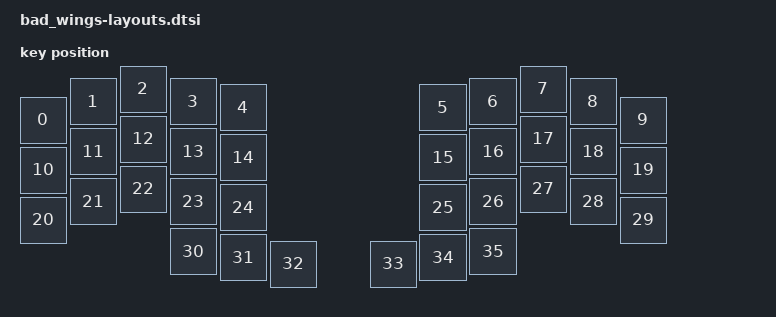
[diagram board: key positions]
#include <physical_layouts.dtsi>

/ {
    physical_layout0: physical_layout_0 {
        compatible = "zmk,physical-layout";
        display-name = "5 Column";

        kscan = <&kscan0>;
        transform = <&matrix_transform0>;

        keys  //                     w   h    x    y     rot    rx    ry
            = <&key_physical_attrs 100 100    0   62       0     0     0>
            , <&key_physical_attrs 100 100  100   25       0     0     0>
            , <&key_physical_attrs 100 100  200    0       0     0     0>
            , <&key_physical_attrs 100 100  300   25       0     0     0>
            , <&key_physical_attrs 100 100  400   37       0     0     0>
            , <&key_physical_attrs 100 100  800   37       0     0     0>
            , <&key_physical_attrs 100 100  900   25       0     0     0>
            , <&key_physical_attrs 100 100 1000    0       0     0     0>
            , <&key_physical_attrs 100 100 1100   25       0     0     0>
            , <&key_physical_attrs 100 100 1200   62       0     0     0>
            , <&key_physical_attrs 100 100    0  162       0     0     0>
            , <&key_physical_attrs 100 100  100  125       0     0     0>
            , <&key_physical_attrs 100 100  200  100       0     0     0>
            , <&key_physical_attrs 100 100  300  125       0     0     0>
            , <&key_physical_attrs 100 100  400  137       0     0     0>
            , <&key_physical_attrs 100 100  800  137       0     0     0>
            , <&key_physical_attrs 100 100  900  125       0     0     0>
            , <&key_physical_attrs 100 100 1000  100       0     0     0>
            , <&key_physical_attrs 100 100 1100  125       0     0     0>
            , <&key_physical_attrs 100 100 1200  162       0     0     0>
            , <&key_physical_attrs 100 100    0  262       0     0     0>
            , <&key_physical_attrs 100 100  100  225       0     0     0>
            , <&key_physical_attrs 100 100  200  200       0     0     0>
            , <&key_physical_attrs 100 100  300  225       0     0     0>
            , <&key_physical_attrs 100 100  400  237       0     0     0>
            , <&key_physical_attrs 100 100  800  237       0     0     0>
            , <&key_physical_attrs 100 100  900  225       0     0     0>
            , <&key_physical_attrs 100 100 1000  200       0     0     0>
            , <&key_physical_attrs 100 100 1100  225       0     0     0>
            , <&key_physical_attrs 100 100 1200  262       0     0     0>
            , <&key_physical_attrs 100 100  300  325       0     0     0>
            , <&key_physical_attrs 100 100  400  337       0     0     0>
            , <&key_physical_attrs 100 100  500  350       0     0     0>
            , <&key_physical_attrs 100 100  700  350       0     0     0>
            , <&key_physical_attrs 100 100  800  337       0     0     0>
            , <&key_physical_attrs 100 100  900  325       0     0     0>
            ;
    };
};
